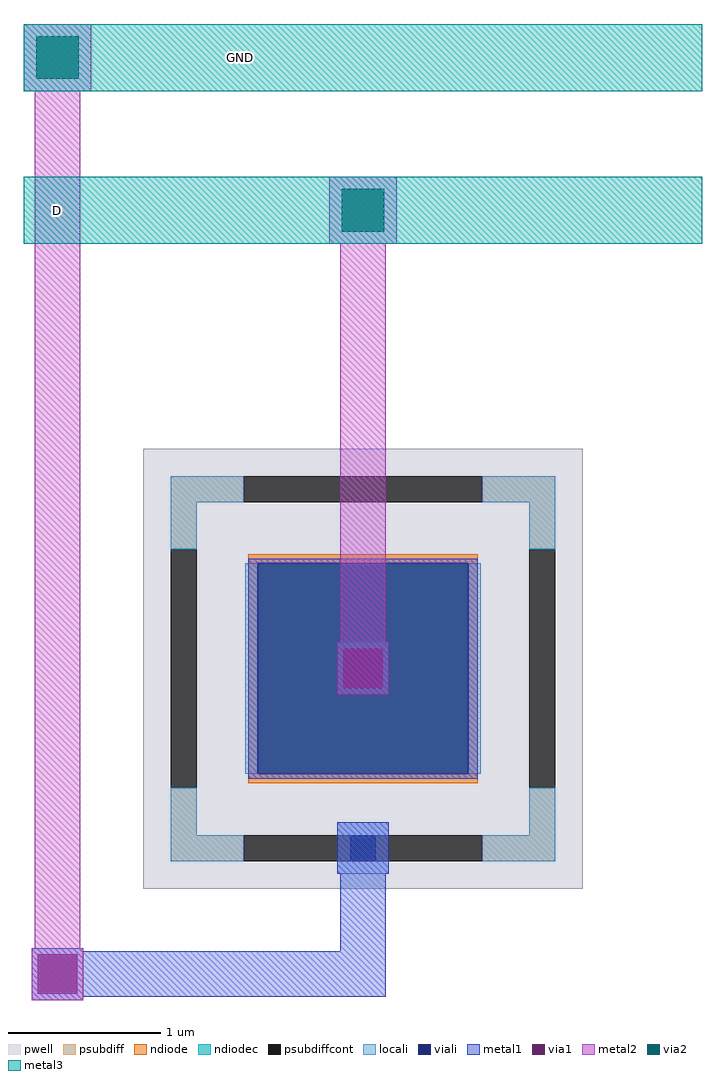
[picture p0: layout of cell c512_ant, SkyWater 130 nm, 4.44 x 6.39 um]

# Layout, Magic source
magic
tech sky130A
magscale 1 2
<< pwell >>
rect 312 -288 888 288
<< psubdiff >>
rect 348 218 444 252
rect 756 218 852 252
rect 348 156 382 218
rect 818 156 852 218
rect 348 -218 382 -156
rect 818 -218 852 -156
rect 348 -252 444 -218
rect 756 -252 852 -218
<< psubdiffcont >>
rect 444 218 756 252
rect 348 -156 382 156
rect 818 -156 852 156
rect 444 -252 756 -218
<< ndiode >>
rect 450 138 750 150
rect 450 -138 462 138
rect 738 -138 750 138
rect 450 -150 750 -138
<< ndiodec >>
rect 462 -138 738 138
<< locali >>
rect 348 218 444 252
rect 756 218 852 252
rect 348 156 382 218
rect 818 156 852 218
rect 446 -138 462 138
rect 738 -138 754 138
rect 348 -218 382 -156
rect 818 -218 852 -156
rect 348 -252 444 -218
rect 756 -252 852 -218
rect 566 -269 634 -201
<< viali >>
rect 462 -138 738 138
rect 583 -252 617 -218
<< metal1 >>
rect 450 138 750 144
rect 450 -138 462 138
rect 738 -138 750 138
rect 450 -144 750 -138
rect 566 -34 634 34
rect 566 -269 634 -201
rect 570 -430 630 -205
rect 170 -430 630 -370
rect 166 -434 234 -366
<< via1 >>
rect 574 -26 626 26
rect 174 -426 226 -374
<< metal2 >>
rect 566 -34 634 34
rect 570 -30 630 630
rect 556 556 644 644
rect 166 -434 234 -366
rect 170 -430 230 830
rect 156 756 244 844
<< via2 >>
rect 572 572 628 628
rect 172 772 228 828
<< metal3 >>
rect 556 556 644 644
rect 156 756 244 844
rect 156 556 1044 644
rect 156 756 1044 844
<< labels >>
rlabel metal3 200 600 200 600 0 D
port 1 nsew signal bidirectional
rlabel metal3 440 800 440 800 0 GND
port 2 nsew signal bidirectional
<< end >>
